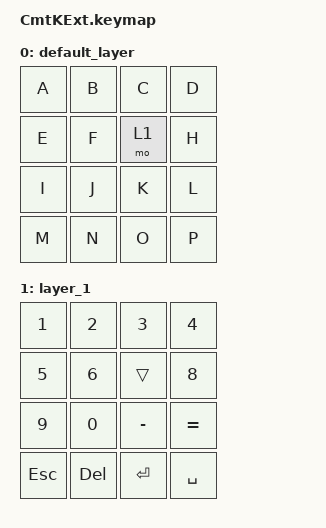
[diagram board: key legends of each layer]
#include <behaviors.dtsi>
#include <dt-bindings/zmk/keys.h>

/ {
    keymap {
        compatible = "zmk,keymap";
        default_layer {
            bindings = <
                &kp A       &kp B       &kp C       &kp D
                &kp E       &kp F       &mo 1       &kp H
                &kp I       &kp J       &kp K       &kp L
                &kp M       &kp N       &kp O       &kp P
            >;
        };

        layer_1 {
            bindings = <
                &kp NUM_1   &kp NUM_2   &kp NUM_3   &kp NUM_4
                &kp NUM_5   &kp NUM_6   &trans      &kp NUM_8
                &kp NUM_9   &kp NUM_0   &kp MINUS   &kp EQUAL
                &kp ESC     &kp DEL     &kp ENTER   &kp SPACE
            >;
        };
    };
};

